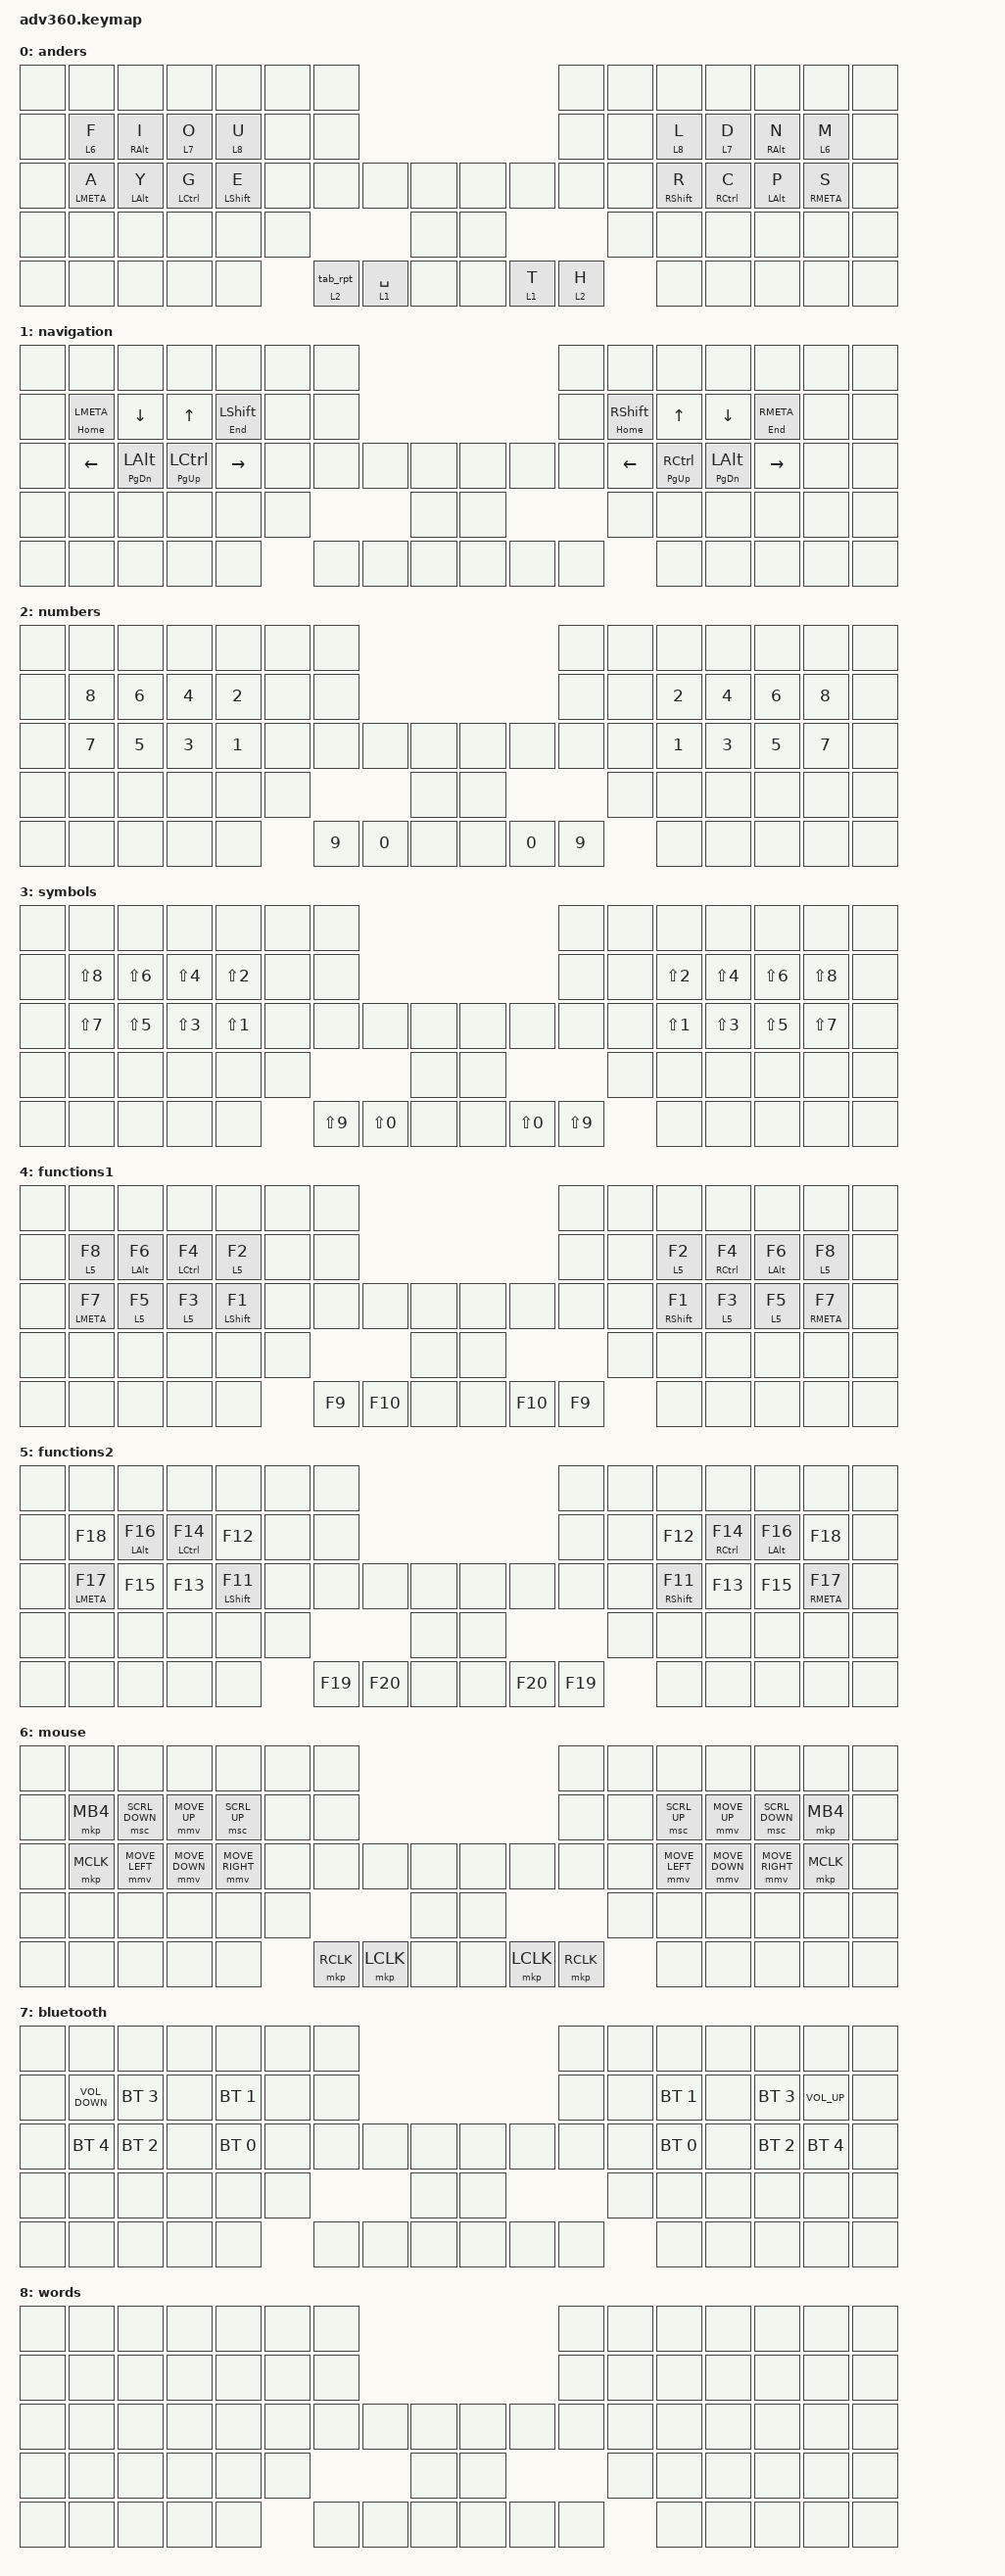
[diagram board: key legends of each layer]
/*
 * Copyright (c) 2020 The ZMK Contributors
 *
 * SPDX-License-Identifier: MIT
 */
/* THIS FILE WAS GENERATED!
 *
 * This file was generated automatically. You may or may not want to
 * edit it directly.
 */

#include <behaviors.dtsi>
#include <dt-bindings/zmk/bt.h>
#include <dt-bindings/zmk/keys.h>
#include <dt-bindings/zmk/pointing.h>

/ {
    behaviors {
        #include "macros.dtsi"
        #include "version.dtsi"

        hm: homerow_mods {
            compatible = "zmk,behavior-hold-tap";
            label = "HOMEROW_MODS";
            #binding-cells = <2>;
            tapping-term-ms = <200>;
            flavor = "tap-preferred";
            bindings = <&kp>, <&kp>;

            /* Another possibility:
            compatible = "zmk,behavior-hold-tap";
            label = "HOMEROW_MODS";
            #binding-cells = <2>;
            tapping-term-ms = <200>;
            quick_tap_ms = <0>;
            flavor = "balanced";
            bindings = <&kp>, <&kp>;
        */
        };

        tl: tap_layer {
            compatible = "zmk,behavior-hold-tap";
            label = "Tap Layer";
            #binding-cells = <2>;
            tapping-term-ms = <200>;
            flavor = "tap-preferred";
            bindings = <&mo>, <&kp>;
        };

        layer_rpt: layer_rpt {
            compatible = "zmk,behavior-hold-tap";
            label = "LAYER_RPT";
            bindings = <&mo>, <&key_repeat>;

            #binding-cells = <2>;
            tapping-term-ms = <200>;
            flavor = "tap-preferred";
        };

        tab_rpt: tab_rpt {
            compatible = "zmk,behavior-mod-morph";
            label = "TAB_RPT";
            bindings = <&key_repeat>, <&kp TAB>;

            #binding-cells = <0>;
            mods = <(MOD_LCTL|MOD_LSFT|MOD_LALT|MOD_LGUI|MOD_RSFT|MOD_RCTL|MOD_RALT|MOD_RGUI)>;
            keep-mods = <(MOD_RALT|MOD_RGUI|MOD_RSFT|MOD_RCTL|MOD_LGUI|MOD_LALT|MOD_LSFT|MOD_LCTL)>;
        };

        layer_tab_rpt: layer_tab_rpt {
            compatible = "zmk,behavior-hold-tap";
            label = "LAYER_TAB_RPT";
            bindings = <&mo>, <&tab_rpt>;

            #binding-cells = <2>;
            tapping-term-ms = <200>;
            flavor = "tap-preferred";
        };

        and: and {
            compatible = "zmk,behavior-mod-morph";
            label = "AND";
            bindings = <&land>, <&uand>;

            #binding-cells = <0>;
            mods = <(MOD_LSFT|MOD_RSFT)>;
        };

        the: the {
            compatible = "zmk,behavior-mod-morph";
            label = "THE";
            bindings = <&lthe>, <&uthe>;

            #binding-cells = <0>;
            mods = <(MOD_LSFT|MOD_RSFT)>;
        };

        layer_and: layer_and {
            compatible = "zmk,behavior-hold-tap";
            label = "LAYER_AND";
            bindings = <&mo>, <&and>;

            #binding-cells = <2>;
            tapping-term-ms = <200>;
            flavor = "tap-preferred";
        };

        layer_the: layer_the {
            compatible = "zmk,behavior-hold-tap";
            label = "LAYER_THE";
            bindings = <&mo>, <&the>;

            #binding-cells = <2>;
            tapping-term-ms = <200>;
            flavor = "tap-preferred";
        };
    };

    combos {
        compatible = "zmk,combos";

        l4_top_cad {
            bindings = <&kp LC(LA(DELETE))>;
            key-positions = <15 16 18 17>;
        };

        r4_top_cad {
            bindings = <&kp LC(LA(DELETE))>;
            key-positions = <23 24 25 26>;
        };

        l4_home_delete-all {
            bindings = <&delete_all>;
            key-positions = <29 30 31 32>;
        };

        r4_home_delete-all {
            bindings = <&delete_all>;
            key-positions = <41 42 43 44>;
        };

        l3_top_bt-clr {
            bindings = <&bt BT_CLR>;
            key-positions = <17 18 16>;
        };

        r3_top_bt-clr {
            bindings = <&bt BT_CLR>;
            key-positions = <24 25 23>;
        };

        l3_top_task {
            bindings = <&kp LS(LC(ESCAPE))>;
            key-positions = <15 16 17>;
        };

        r3_top_task {
            bindings = <&kp LS(LC(ESCAPE))>;
            key-positions = <26 25 24>;
        };

        l3_home_return {
            bindings = <&kp RET>;
            key-positions = <32 31 30>;
        };

        r3_home_return {
            bindings = <&kp RET>;
            key-positions = <41 42 43>;
        };

        l3_home_escape {
            bindings = <&kp ESCAPE>;
            key-positions = <29 30 31>;
        };

        r3_home_escape {
            bindings = <&kp ESCAPE>;
            key-positions = <44 43 42>;
        };

        l2_top_lt {
            bindings = <&kp LESS_THAN>;
            key-positions = <16 15>;
        };

        r2_top_gt {
            bindings = <&kp GREATER_THAN>;
            key-positions = <26 25>;
        };

        l2_top_brace {
            bindings = <&kp LEFT_BRACE>;
            key-positions = <15 17>;
        };

        r2_top_brace {
            bindings = <&kp RIGHT_BRACE>;
            key-positions = <26 24>;
        };

        l2_top_bracket {
            bindings = <&kp LEFT_BRACKET>;
            key-positions = <16 18>;
        };

        r2_top_bracket {
            bindings = <&kp RIGHT_BRACKET>;
            key-positions = <25 23>;
        };

        l2_top_paren {
            bindings = <&kp LEFT_PARENTHESIS>;
            key-positions = <18 17>;
        };

        r2_top_paren {
            bindings = <&kp RIGHT_PARENTHESIS>;
            key-positions = <24 23>;
        };

        l2_top_osl-num {
            bindings = <&sl 2>;
            key-positions = <16 17>;
        };

        r2_top_osl-num {
            bindings = <&sl 2>;
            key-positions = <25 24>;
        };

        l2_top_osl-sym {
            bindings = <&sl 5>;
            key-positions = <15 18>;
        };

        r2_top_osl-sym {
            bindings = <&sl 5>;
            key-positions = <26 23>;
        };

        l2_home_screenshot {
            bindings = <&kp PRINTSCREEN>;
            key-positions = <29 30>;
        };

        r2_home_screenshot {
            bindings = <&kp PRINTSCREEN>;
            key-positions = <44 43>;
        };

        l2_home_slash {
            bindings = <&kp SLASH>;
            key-positions = <29 31>;
        };

        r2_home_bslash {
            bindings = <&kp BACKSLASH>;
            key-positions = <44 42>;
        };

        l2_home_delete {
            bindings = <&kp DELETE>;
            key-positions = <30 32>;
        };

        r2_home_delete {
            bindings = <&kp DELETE>;
            key-positions = <44 42>;
        };

        l2_home_bspc {
            bindings = <&kp BACKSPACE>;
            key-positions = <32 31>;
        };

        r2_home_bspc {
            bindings = <&kp BSPC>;
            key-positions = <41 42>;
        };

        l2_home_caps {
            bindings = <&caps_word>;
            key-positions = <30 31>;
        };

        r2_home_caps {
            bindings = <&caps_word>;
            key-positions = <42 43>;
        };

        l2_home_under {
            bindings = <&kp UNDER>;
            key-positions = <32 29>;
        };

        l2_home_dash {
            bindings = <&kp MINUS>;
            key-positions = <41 44>;
        };

        l_vert_apos {
            bindings = <&kp APOS>;
            key-positions = <29 15>;
        };

        l_vert_semi {
            bindings = <&kp SEMI>;
            key-positions = <16 30>;
        };

        l2_vert_comma {
            bindings = <&kp COMMA>;
            key-positions = <31 17>;
        };

        l2_vert_dot {
            bindings = <&kp DOT>;
            key-positions = <32 18>;
        };

        r_vert_k {
            bindings = <&kp K>;
            key-positions = <41 23>;
        };

        r_vert_w {
            bindings = <&kp W>;
            key-positions = <42 24>;
        };

        r_vert_b {
            bindings = <&kp B>;
            key-positions = <43 25>;
        };

        r_vert_j {
            bindings = <&kp J>;
            key-positions = <44 26>;
        };

        l_sw_equal {
            bindings = <&kp EQUAL>;
            key-positions = <32 17>;
        };

        l_sw_plus {
            bindings = <&kp PLUS>;
            key-positions = <31 18>;
        };

        l_sw_pipe {
            bindings = <&kp PIPE>;
            key-positions = <30 17>;
        };

        l_sw_amp {
            bindings = <&kp AMPERSAND>;
            key-positions = <16 31>;
        };

        r_sw_v {
            bindings = <&kp V>;
            key-positions = <41 24>;
        };

        r_sw_x {
            bindings = <&kp X>;
            key-positions = <42 23>;
        };

        r_sw_q {
            bindings = <&kp Q>;
            key-positions = <24 43>;
        };

        r_sw_z {
            bindings = <&kp Z>;
            key-positions = <42 25>;
        };

        l_swp_cut {
            bindings = <&kp LC(X)>;
            key-positions = <29 16>;
        };

        l_swp_copy {
            bindings = <&kp LC(C)>;
            key-positions = <29 17>;
        };

        l_swp_paste {
            bindings = <&kp LC(V)>;
            key-positions = <29 18>;
        };

        r_swp_mute {
            bindings = <&kp K_MUTE>;
            key-positions = <44 25>;
        };

        r_swp_redo {
            bindings = <&kp LC(LS(Z))>;
            key-positions = <44 24>;
        };

        r_swp_undo {
            bindings = <&kp LC(Z)>;
            key-positions = <44 23>;
        };

        l_t_and {
            bindings = <&layer_and 4 0>;
            key-positions = <66 65>;
        };

        r_t_the {
            bindings = <&layer_the 4 0>;
            key-positions = <69 70>;
        };
    };

    macros {
        ht: ht {
            compatible = "zmk,behavior-macro";
            #binding-cells = <0>;
            bindings = <&kp H &kp T>;
            label = "HT";
        };

        double0: double0 {
            compatible = "zmk,behavior-macro";
            #binding-cells = <0>;
            bindings = <&kp N0 &kp N0>;
            label = "DOUBLE0";
        };

        Th: Th {
            compatible = "zmk,behavior-macro";
            #binding-cells = <0>;
            bindings = <&kp LS(T) &kp H>;
            label = "TH";
        };

        email: email {
            compatible = "zmk,behavior-macro";
            #binding-cells = <0>;
            bindings = <&kp O &kp F &kp L &kp A &kp H &kp N3 &kp R &kp T &kp Y &kp AT &kp G &kp M &kp A &kp I &kp L &kp DOT &kp C &kp O &kp M>;
            label = "EMAIL";
        };

        delete_all: delete_all {
            compatible = "zmk,behavior-macro";
            #binding-cells = <0>;
            bindings = <&kp LC(A) &kp DELETE>;
            label = "DELETE_ALL";
        };

        lthe: lthe {
            compatible = "zmk,behavior-macro";
            #binding-cells = <0>;
            bindings = <&kp T &kp H &kp E>;
            label = "LTHE";
        };

        uthe: uthe {
            compatible = "zmk,behavior-macro";
            #binding-cells = <0>;
            bindings = <&kp LS(T) &kp H &kp E>;
            label = "UTHE";
        };

        land: land {
            compatible = "zmk,behavior-macro";
            #binding-cells = <0>;
            bindings = <&kp A &kp N &kp D>;
            label = "LAND";
        };

        uand: uand {
            compatible = "zmk,behavior-macro";
            #binding-cells = <0>;
            bindings = <&kp LS(A) &kp N &kp D>;
            label = "UAND";
        };
    };

    keymap {
        compatible = "zmk,keymap";

        anders {
            bindings = <
&none  &none        &none       &none        &none        &none  &none                                                       &none    &none  &none        &none        &none       &none        &none
&none  &tl 6 F      &hm RALT I  &tl 7 O      &tl 8 U      &none  &none                                                       &none    &none  &tl 8 L      &tl 7 D      &hm RALT N  &tl 6 M      &none
&none  &hm LMETA A  &hm LALT Y  &hm LCTRL G  &hm LSHFT E  &none  &none               &none        &none      &none  &none    &none    &none  &hm RSHFT R  &hm RCTRL C  &hm LALT P  &hm RMETA S  &none
&none  &none        &none       &none        &none        &none                                   &none      &none                    &none  &none        &none        &none       &none        &none
&none  &none        &none       &none        &none               &layer_tab_rpt 2 0  &tl 1 SPACE  &none      &none  &tl 1 T  &tl 2 H         &none        &none        &none       &none        &none
            >;
        };

        navigation {
            bindings = <
&none  &none           &none               &none            &none          &none  &none                                  &none  &none           &none            &none               &none          &none  &none
&none  &hm HOME LMETA  &kp DOWN            &kp UP           &hm END LSHFT  &none  &none                                  &none  &hm HOME RSHFT  &kp UP           &kp DOWN            &hm END RMETA  &none  &none
&none  &kp LEFT        &hm PG_DN LEFT_ALT  &hm PG_UP LCTRL  &kp RIGHT      &none  &none  &none  &none      &none  &none  &none  &kp LEFT        &hm PG_UP RCTRL  &hm PG_DN LEFT_ALT  &kp RIGHT      &none  &none
&none  &none           &none               &none            &none          &none                &none      &none                &none           &none            &none               &none          &none  &none
&none  &none           &none               &none            &none                 &none  &none  &none      &none  &none  &none                  &none            &none               &none          &none  &none
            >;
        };

        numbers {
            bindings = <
&none  &none   &none   &none   &none   &none  &none                                     &none   &none  &none   &none   &none   &none   &none
&none  &kp N8  &kp N6  &kp N4  &kp N2  &none  &none                                     &none   &none  &kp N2  &kp N4  &kp N6  &kp N8  &none
&none  &kp N7  &kp N5  &kp N3  &kp N1  &none  &none   &none   &none      &none  &none   &none   &none  &kp N1  &kp N3  &kp N5  &kp N7  &none
&none  &none   &none   &none   &none   &none                  &none      &none                  &none  &none   &none   &none   &none   &none
&none  &none   &none   &none   &none          &kp N9  &kp N0  &none      &none  &kp N0  &kp N9         &none   &none   &none   &none   &none
            >;
        };

        symbols {
            bindings = <
&none  &none       &none       &none       &none       &none  &none                                                 &none       &none  &none       &none       &none       &none       &none
&none  &kp LS(N8)  &kp LS(N6)  &kp LS(N4)  &kp LS(N2)  &none  &none                                                 &none       &none  &kp LS(N2)  &kp LS(N4)  &kp LS(N6)  &kp LS(N8)  &none
&none  &kp LS(N7)  &kp LS(N5)  &kp LS(N3)  &kp LS(N1)  &none  &none       &none       &none      &none  &none       &none       &none  &kp LS(N1)  &kp LS(N3)  &kp LS(N5)  &kp LS(N7)  &none
&none  &none       &none       &none       &none       &none                          &none      &none                          &none  &none       &none       &none       &none       &none
&none  &none       &none       &none       &none              &kp LS(N9)  &kp LS(N0)  &none      &none  &kp LS(N0)  &kp LS(N9)         &none       &none       &none       &none       &none
            >;
        };

        functions1 {
            bindings = <
&none  &none         &none            &none         &none         &none  &none                                       &none   &none  &none         &none         &none            &none         &none
&none  &tl 5 F8      &hm LEFT_ALT F6  &hm LCTRL F4  &tl 5 F2      &none  &none                                       &none   &none  &tl 5 F2      &hm RCTRL F4  &hm LEFT_ALT F6  &tl 5 F8      &none
&none  &hm LMETA F7  &tl 5 F5         &tl 5 F3      &hm LSHFT F1  &none  &none   &none    &none      &none  &none    &none   &none  &hm RSHFT F1  &tl 5 F3      &tl 5 F5         &hm RMETA F7  &none
&none  &none         &none            &none         &none         &none                   &none      &none                   &none  &none         &none         &none            &none         &none
&none  &none         &none            &none         &none                &kp F9  &kp F10  &none      &none  &kp F10  &kp F9         &none         &none         &none            &none         &none
            >;
        };

        functions2 {
            bindings = <
&none  &none          &none             &none          &none          &none  &none                                        &none    &none  &none          &none          &none             &none          &none
&none  &kp F18        &hm LEFT_ALT F16  &hm LCTRL F14  &kp F12        &none  &none                                        &none    &none  &kp F12        &hm RCTRL F14  &hm LEFT_ALT F16  &kp F18        &none
&none  &hm LMETA F17  &kp F15           &kp F13        &hm LSHFT F11  &none  &none    &none    &none      &none  &none    &none    &none  &hm RSHFT F11  &kp F13        &kp F15           &hm RMETA F17  &none
&none  &none          &none             &none          &none          &none                    &none      &none                    &none  &none          &none          &none             &none          &none
&none  &none          &none             &none          &none                 &kp F19  &kp F20  &none      &none  &kp F20  &kp F19         &none          &none          &none             &none          &none
            >;
        };

        mouse {
            bindings = <
&none  &none      &none           &none           &none            &none  &none                                              &none      &none  &none           &none           &none            &none      &none
&none  &mkp MB4   &msc SCRL_DOWN  &mmv MOVE_UP    &msc SCRL_UP     &none  &none                                              &none      &none  &msc SCRL_UP    &mmv MOVE_UP    &msc SCRL_DOWN   &mkp MB4   &none
&none  &mkp MCLK  &mmv MOVE_LEFT  &mmv MOVE_DOWN  &mmv MOVE_RIGHT  &none  &none      &none      &none      &none  &none      &none      &none  &mmv MOVE_LEFT  &mmv MOVE_DOWN  &mmv MOVE_RIGHT  &mkp MCLK  &none
&none  &none      &none           &none           &none            &none                        &none      &none                        &none  &none           &none           &none            &none      &none
&none  &none      &none           &none           &none                   &mkp RCLK  &mkp LCLK  &none      &none  &mkp LCLK  &mkp RCLK         &none           &none           &none            &none      &none
            >;
        };

        bluetooth {
            bindings = <
&none  &none              &none         &none  &none         &none  &none                                  &none  &none  &none         &none  &none         &none            &none
&none  &kp C_VOLUME_DOWN  &bt BT_SEL 3  &none  &bt BT_SEL 1  &none  &none                                  &none  &none  &bt BT_SEL 1  &none  &bt BT_SEL 3  &kp C_VOLUME_UP  &none
&none  &bt BT_SEL 4       &bt BT_SEL 2  &none  &bt BT_SEL 0  &none  &none  &none  &none      &none  &none  &none  &none  &bt BT_SEL 0  &none  &bt BT_SEL 2  &bt BT_SEL 4     &none
&none  &none              &none         &none  &none         &none                &none      &none                &none  &none         &none  &none         &none            &none
&none  &none              &none         &none  &none                &none  &none  &none      &none  &none  &none         &none         &none  &none         &none            &none
            >;
        };

        words {
            bindings = <
&none  &none  &none  &none  &none  &none  &none                                  &none  &none  &none  &none  &none  &none  &none
&none  &none  &none  &none  &none  &none  &none                                  &none  &none  &none  &none  &none  &none  &none
&none  &none  &none  &none  &none  &none  &none  &none  &none      &none  &none  &none  &none  &none  &none  &none  &none  &none
&none  &none  &none  &none  &none  &none                &none      &none                &none  &none  &none  &none  &none  &none
&none  &none  &none  &none  &none         &none  &none  &none      &none  &none  &none         &none  &none  &none  &none  &none
            >;
        };
    };
};
